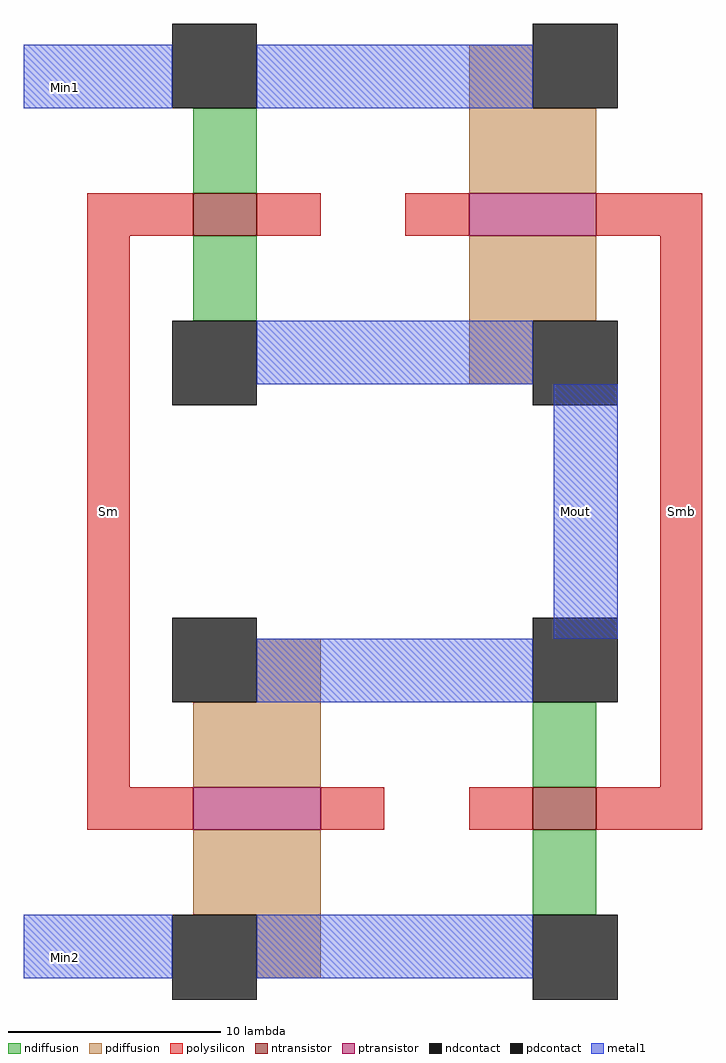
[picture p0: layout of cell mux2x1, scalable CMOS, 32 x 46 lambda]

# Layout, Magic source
magic
tech scmos
<< polysilicon >>
rect -5 13 -3 43
rect 22 13 24 43
<< metal1 >>
rect -8 47 -1 50
rect 17 22 20 34
rect -8 6 -1 9
use gate gate_1
transform 0 1 2 -1 0 42
box -9 -5 9 20
use gate gate_0
transform 0 -1 17 1 0 14
box -9 -5 9 20
<< labels >>
rlabel polysilicon -4 28 -4 28 3 Sm
rlabel polysilicon 23 28 23 28 7 Smb
rlabel metal1 -6 48 -6 48 4 Min1
rlabel metal1 -6 7 -6 7 2 Min2
rlabel metal1 18 28 18 28 1 Mout
<< end >>

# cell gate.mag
magic
tech scmos
<< polysilicon >>
rect -1 17 1 20
rect -1 8 1 11
rect -1 1 1 4
rect -1 -5 1 -2
<< ndiffusion >>
rect -5 -2 -1 1
rect 1 -2 5 1
<< pdiffusion >>
rect -5 14 -1 17
rect -8 11 -1 14
rect 1 14 5 17
rect 1 11 8 14
<< metal1 >>
rect -8 1 -5 14
rect 5 1 8 14
<< ntransistor >>
rect -1 -2 1 1
<< ptransistor >>
rect -1 11 1 17
<< ndcontact >>
rect -9 -3 -5 1
rect 5 -3 9 1
<< pdcontact >>
rect -9 14 -5 18
rect 5 14 9 18
<< labels >>
rlabel polysilicon 0 19 0 19 5 S
rlabel polysilicon 0 -4 0 -4 1 Sb
rlabel metal1 -7 6 -7 6 3 Gin
rlabel metal1 7 6 7 6 7 Gout
<< end >>
